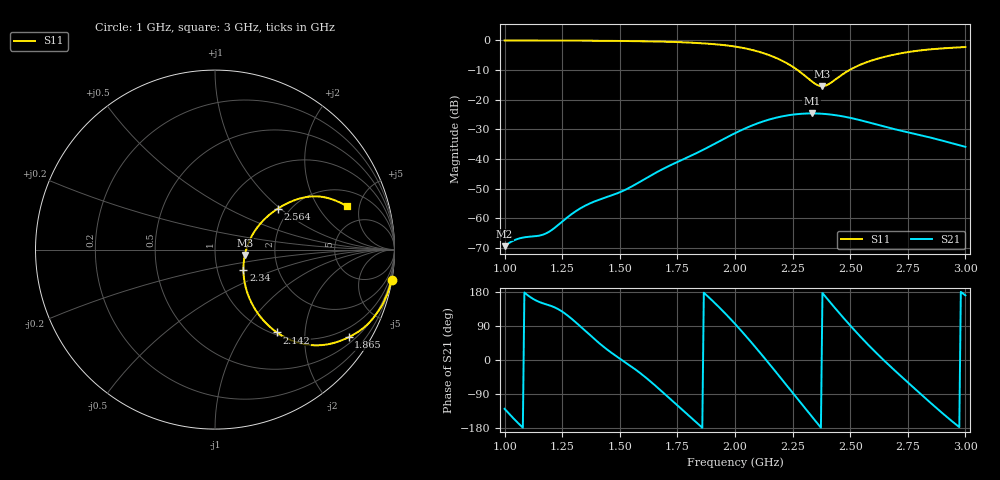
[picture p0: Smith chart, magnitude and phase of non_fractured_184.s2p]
! TOUCHSTONE file generated by CST MICROWAVE STUDIO
! Date and time: Sat Mar  8 13:55:17 2025
! Project name: non_fractured.cst
! Parameters = {B=2.5; D=160; F=10; Feed=2.85625; L=100; M=20; R=0.384908; S=1.5; Theta=270; length=57.125; wave=114.25}
! Header version: 2024
! Port assignment regex: !\s*Touchstone port\s*([0-9]+)\s*=\s*(CST MWS port|CST DES external port|CST DES block port)\s*(.+)\s* \(\"(.*)\"\)(\s*mode\s*([0-9]+))?.*
! Touchstone port assignment:
! Touchstone port 1 = CST MWS port 1 ("")
! Touchstone port 2 = CST MWS port 2 ("")
# GHz S DB R 50
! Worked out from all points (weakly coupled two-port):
!   304 points, 1 GHz to 3 GHz, reference 50 ohm
!   highest |S21| = -24.62 dB at 2.333 GHz (marker M1); lowest = -69.4 dB at 1 GHz (marker M2)
!   lowest |S11| = -15.4 dB at 2.38 GHz (marker M3), VSWR 1.41, Z = 69.8 - j4.26 ohm
!   |S11| at or under -10 dB: 2.272 GHz to 2.497 GHz (225 MHz wide, 9.44 % of centre)
!   S12 and S22 are empty: the file has one direction only
!   S11 on the Smith chart (normalised r, x): 1 GHz: 0, -12; 1.865 GHz: 0.68, -3.21; 2.142 GHz: 1.04, -1.44; 2.34 GHz: 1.33, -0.31; 2.564 GHz: 1.74, +0.97; 3 GHz: 3.13, +3.76
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1  -0.02 -9.7  -69.39 -129.0  -200.00 0.0  -200.00 0.0
1.05941  -0.03 -10.6  -66.88 -167.0  -200.00 0.0  -200.00 0.0
1.15182  -0.04 -11.9  -65.81 152.8  -200.00 0.0  -200.00 0.0
1.18482  -0.04 -12.4  -64.89 146.1  -200.00 0.0  -200.00 0.0
1.33663  -0.09 -15.2  -56.28 84.3  -200.00 0.0  -200.00 0.0
1.52145  -0.20 -19.5  -50.46 -5.2  -200.00 0.0  -200.00 0.0
1.66667  -0.38 -24.1  -44.18 -74.3  -200.00 0.0  -200.00 0.0
1.86469  -1.01 -33.3  -36.78 177.6  -200.00 0.0  -200.00 0.0
2.0033  -2.11 -42.8  -31.16 93.3  -200.00 0.0  -200.00 0.0
2.07591  -3.24 -48.6  -28.63 43.0  -200.00 0.0  -200.00 0.0
2.14191  -4.79 -53.2  -26.83 -5.1  -200.00 0.0  -200.00 0.0
2.24092  -8.41 -55.9  -25.13 -79.4  -200.00 0.0  -200.00 0.0
2.33333  -13.83 -38.7  -24.62 -149.1  -200.00 0.0  -200.00 0.0
2.33993  -14.22 -35.6  -24.62 -154.0  -200.00 0.0  -200.00 0.0
2.35974  -15.14 -23.9  -24.66 -168.7  -200.00 0.0  -200.00 0.0
2.37954  -15.45 -10.1  -24.74 176.7  -200.00 0.0  -200.00 0.0
2.40594  -14.78 7.1  -24.92 157.4  -200.00 0.0  -200.00 0.0
2.47195  -11.18 28.6  -25.67 110.4  -200.00 0.0  -200.00 0.0
2.56436  -7.56 33.1  -27.32 48.9  -200.00 0.0  -200.00 0.0
2.66997  -5.15 31.1  -29.49 -14.4  -200.00 0.0  -200.00 0.0
2.82838  -3.16 24.3  -32.39 -102.0  -200.00 0.0  -200.00 0.0
3  -2.23 18.1  -35.89 170.4  -200.00 0.0  -200.00 0.0
